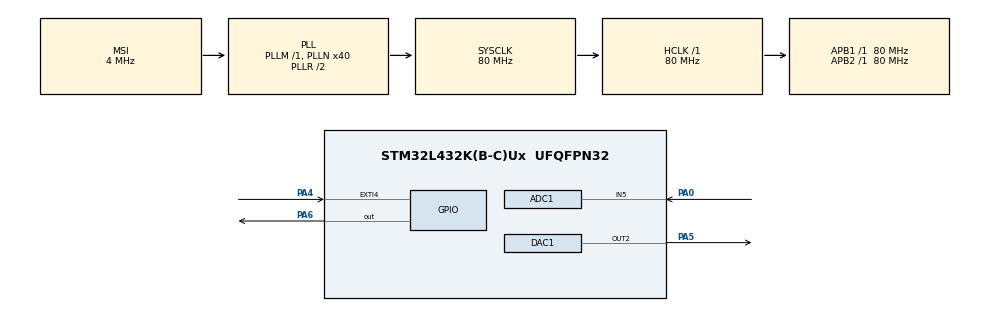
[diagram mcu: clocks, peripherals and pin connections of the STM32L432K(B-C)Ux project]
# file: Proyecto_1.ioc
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ADC1.Channel-1\#ChannelRegularConversion=ADC_CHANNEL_5
ADC1.NbrOfConversionFlag=1
ADC1.OffsetNumber-1\#ChannelRegularConversion=ADC_OFFSET_NONE
ADC1.Rank-1\#ChannelRegularConversion=1
ADC1.SamplingTime-1\#ChannelRegularConversion=ADC_SAMPLETIME_2CYCLES_5
ADC1.master=1
DAC1.DAC_Channel-DAC_OUT2=DAC_CHANNEL_2
Mcu.Family=STM32L4
Mcu.Name=STM32L432K(B-C)Ux
Mcu.Package=UFQFPN32
NVIC.EXTI4_IRQn=true\:0\:0\:false\:false\:true\:true\:true\:true
NVIC.PriorityGroup=NVIC_PRIORITYGROUP_4
NVIC.TIM1_UP_TIM16_IRQn=true\:0\:0\:false\:false\:true\:true\:true\:true
PA0.Signal=ADCx_IN5
PA4.GPIO_ModeDefaultEXTI=GPIO_MODE_IT_RISING_FALLING
PA4.GPIO_PuPd=GPIO_PULLDOWN
PA4.Signal=GPXTI4
PA5.Signal=COMP_DAC12_group
PA6.Signal=GPIO_Output
ProjectManager.HeapSize=0x200
ProjectManager.StackSize=0x400
ProjectManager.TargetToolchain=STM32CubeIDE
RCC.ADCFreq_Value=32000000
RCC.AHBFreq_Value=80000000
RCC.APB1Freq_Value=80000000
RCC.APB1TimFreq_Value=80000000
RCC.APB2Freq_Value=80000000
RCC.APB2TimFreq_Value=80000000
RCC.CortexFreq_Value=80000000
RCC.HCLKFreq_Value=80000000
RCC.HSE_VALUE=8000000
RCC.HSI48_VALUE=48000000
RCC.HSI_VALUE=16000000
RCC.LSE_VALUE=32768
RCC.MSI_VALUE=4000000
RCC.PLLN=40
RCC.PLLSAI1N=16
RCC.SYSCLKFreq_VALUE=80000000
RCC.SYSCLKSource=RCC_SYSCLKSOURCE_PLLCLK
RCC.USBFreq_Value=32000000
RCC.VCOOutputFreq_Value=160000000
SH.ADCx_IN5.0=ADC1_IN5,IN5-Single-Ended
SH.COMP_DAC12_group.0=DAC1_OUT2,DAC_OUT2
TIM1.Period=2000-1
TIM1.Prescaler=80-1
VP_TIM1_VS_ClockSourceINT.Mode=Internal
board=custom

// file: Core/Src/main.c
/* USER CODE BEGIN Header */
/**
  ******************************************************************************
  * @file           : main.c
  * @brief          : Main program body
  ******************************************************************************
  * @attention
  *
  * Copyright (c) 2024 STMicroelectronics.
  * All rights reserved.
  *
  * This software is licensed under terms that can be found in the LICENSE file
  * in the root directory of this software component.
  * If no LICENSE file comes with this software, it is provided AS-IS.
  *
  ******************************************************************************
  */
/* USER CODE END Header */
#include "main.h"

/* USER CODE BEGIN PTD */

typedef enum
{
	attack,
	decay,
	sustain,
	release,
	off
}etapas_t;

/* USER CODE END PTD */

ADC_HandleTypeDef hadc1;
DAC_HandleTypeDef hdac1;
TIM_HandleTypeDef htim1;

/* USER CODE BEGIN PV */

float var = 0;

etapas_t etapas = off;

float t_a = 0.5;
float t_d = 1;
float v_s = 2.5;
float t_r = 0.2;

float b_a = 0;
float b_d = 0;
float b_r = 0;

int Gate = 0;

float x = 0;
float y = 0;

float env = 0;
int flag = 0;
float pendiente_d = 0;

/* USER CODE END PV */

void SystemClock_Config(void);
static void MX_GPIO_Init(void);
static void MX_ADC1_Init(void);
static void MX_DAC1_Init(void);
static void MX_TIM1_Init(void);
/* USER CODE BEGIN PFP */
float generador_rectas(float, float);
/* USER CODE END PFP */

int main(void)
{

  /* MCU Configuration--------------------------------------------------------*/

  /* Reset of all peripherals, Initializes the Flash interface and the Systick. */
  HAL_Init();

  /* Configure the system clock */
  SystemClock_Config();

  /* Initialize all configured peripherals */
  MX_GPIO_Init();
  MX_ADC1_Init();
  MX_DAC1_Init();
  MX_TIM1_Init();
  /* USER CODE BEGIN 2 */

  //HAL_GPIO_EXTI_Callback(GPIO_PIN_4);

  	HAL_DAC_Start(&hdac1, DAC_CHANNEL_2);
  	HAL_TIM_Base_Start_IT(&htim1);

  /* USER CODE END 2 */

  /* Infinite loop */
  while (1)
  {

    /* USER CODE BEGIN 3 */

	  switch(etapas)
	  {
	  	  case attack:

	  		  float pendiente_a = 3.3/var;
	  		  b_a = 0;

	  		  if(flag == 1)
	  		  {
	  			  env = generador_rectas(pendiente_a, b_a);
	  			  flag = 0;
	  			  HAL_DAC_SetValue(&hdac1, DAC_CHANNEL_2, DAC_ALIGN_12B_R, env*4095/3.3);
	  		  }

	  		  if(env >= 3.3)
	  		  {
	  			  etapas = decay;
	  			  pendiente_d = (v_s - 3.3)/t_d;
	  			  b_d = v_s - pendiente_d * t_d;
	  			  x = 0;
	  		  }
	  		  else
	  		  {
	  			  etapas = attack;
	  		  }

	  		  break;
	  	  case decay:

	  		  //float pendiente_d = (v_s - 3.3)/t_d;
	  		  //b_d = v_s - pendiente_d * t_d;

	  		  if(flag == 1)
	  		  {
	  			  env = generador_rectas(pendiente_d, b_d);
	  			  flag = 0;
	  			  HAL_DAC_SetValue(&hdac1, DAC_CHANNEL_2, DAC_ALIGN_12B_R, env*4095/3.3);
	  		  }

	  		  if(env <= v_s)
	  		  {
	  			  etapas = sustain;
	  			  x = 0;
	  		  }
	  		  else
	  		  {
	  			  etapas = decay;
	  		  }

	  		  break;
	  	  case sustain:

	  		  if(flag == 1)
	  		  {
	  			  HAL_DAC_SetValue(&hdac1, DAC_CHANNEL_2, DAC_ALIGN_12B_R, env*4095/3.3);
	  			  flag = 0;
	  		  }

	  		  if(Gate == 0)
	  		  {
	  			  etapas = release;
	  			  x = 0;
	  		  }
	  		  else
	  		  {
	  			etapas = sustain;
	  		  }

	  		  break;
	  	  case release:

	  		  float pendiente_r = (0 - v_s)/t_r;
	  		  b_r = - pendiente_r * t_r;

	  		  if(flag == 1)
	  		  {
	  			  env = generador_rectas(pendiente_r, b_r);
				  flag = 0;
				  HAL_DAC_SetValue(&hdac1, DAC_CHANNEL_2, DAC_ALIGN_12B_R, env*4095/3.3);
	  		  }

	  		  if(env <=0)
	  		  {
	  			  etapas = off;
	  			  x = 0;
	  		  }
	  		  else
	  		  {
	  			  etapas = release;
	  		  }

	  		  break;
	  	  case off:

	  		  if(Gate == 1)
	  		  {
	  			  etapas = attack;
	  			  x = 0;
	  		  }
	  		  else
	  		  {
	  			  etapas = off;
	  		  }

	  		  break;
	  }

  }
  /* USER CODE END 3 */
}

void SystemClock_Config(void)
{
  RCC_OscInitTypeDef RCC_OscInitStruct = {0};
  RCC_ClkInitTypeDef RCC_ClkInitStruct = {0};

  /** Configure the main internal regulator output voltage
  */
  if (HAL_PWREx_ControlVoltageScaling(PWR_REGULATOR_VOLTAGE_SCALE1) != HAL_OK)
  {
    Error_Handler();
  }

  /** Initializes the RCC Oscillators according to the specified parameters
  * in the RCC_OscInitTypeDef structure.
  */
  RCC_OscInitStruct.OscillatorType = RCC_OSCILLATORTYPE_MSI;
  RCC_OscInitStruct.MSIState = RCC_MSI_ON;
  RCC_OscInitStruct.MSICalibrationValue = 0;
  RCC_OscInitStruct.MSIClockRange = RCC_MSIRANGE_6;
  RCC_OscInitStruct.PLL.PLLState = RCC_PLL_ON;
  RCC_OscInitStruct.PLL.PLLSource = RCC_PLLSOURCE_MSI;
  RCC_OscInitStruct.PLL.PLLM = 1;
  RCC_OscInitStruct.PLL.PLLN = 40;
  RCC_OscInitStruct.PLL.PLLP = RCC_PLLP_DIV7;
  RCC_OscInitStruct.PLL.PLLQ = RCC_PLLQ_DIV2;
  RCC_OscInitStruct.PLL.PLLR = RCC_PLLR_DIV2;
  if (HAL_RCC_OscConfig(&RCC_OscInitStruct) != HAL_OK)
  {
    Error_Handler();
  }

  /** Initializes the CPU, AHB and APB buses clocks
  */
  RCC_ClkInitStruct.ClockType = RCC_CLOCKTYPE_HCLK|RCC_CLOCKTYPE_SYSCLK
                              |RCC_CLOCKTYPE_PCLK1|RCC_CLOCKTYPE_PCLK2;
  RCC_ClkInitStruct.SYSCLKSource = RCC_SYSCLKSOURCE_PLLCLK;
  RCC_ClkInitStruct.AHBCLKDivider = RCC_SYSCLK_DIV1;
  RCC_ClkInitStruct.APB1CLKDivider = RCC_HCLK_DIV1;
  RCC_ClkInitStruct.APB2CLKDivider = RCC_HCLK_DIV1;

  if (HAL_RCC_ClockConfig(&RCC_ClkInitStruct, FLASH_LATENCY_4) != HAL_OK)
  {
    Error_Handler();
  }
}

static void MX_ADC1_Init(void)
{

  ADC_ChannelConfTypeDef sConfig = {0};

  /** Common config
  */
  hadc1.Instance = ADC1;
  hadc1.Init.ClockPrescaler = ADC_CLOCK_ASYNC_DIV1;
  hadc1.Init.Resolution = ADC_RESOLUTION_12B;
  hadc1.Init.DataAlign = ADC_DATAALIGN_RIGHT;
  hadc1.Init.ScanConvMode = ADC_SCAN_DISABLE;
  hadc1.Init.EOCSelection = ADC_EOC_SINGLE_CONV;
  hadc1.Init.LowPowerAutoWait = DISABLE;
  hadc1.Init.ContinuousConvMode = DISABLE;
  hadc1.Init.NbrOfConversion = 1;
  hadc1.Init.DiscontinuousConvMode = DISABLE;
  hadc1.Init.ExternalTrigConv = ADC_SOFTWARE_START;
  hadc1.Init.ExternalTrigConvEdge = ADC_EXTERNALTRIGCONVEDGE_NONE;
  hadc1.Init.DMAContinuousRequests = DISABLE;
  hadc1.Init.Overrun = ADC_OVR_DATA_PRESERVED;
  hadc1.Init.OversamplingMode = DISABLE;
  if (HAL_ADC_Init(&hadc1) != HAL_OK)
  {
    Error_Handler();
  }

  /** Configure Regular Channel
  */
  sConfig.Channel = ADC_CHANNEL_5;
  sConfig.Rank = ADC_REGULAR_RANK_1;
  sConfig.SamplingTime = ADC_SAMPLETIME_2CYCLES_5;
  sConfig.SingleDiff = ADC_SINGLE_ENDED;
  sConfig.OffsetNumber = ADC_OFFSET_NONE;
  sConfig.Offset = 0;
  if (HAL_ADC_ConfigChannel(&hadc1, &sConfig) != HAL_OK)
  {
    Error_Handler();
  }

}

static void MX_DAC1_Init(void)
{

  DAC_ChannelConfTypeDef sConfig = {0};

  /** DAC Initialization
  */
  hdac1.Instance = DAC1;
  if (HAL_DAC_Init(&hdac1) != HAL_OK)
  {
    Error_Handler();
  }

  /** DAC channel OUT2 config
  */
  sConfig.DAC_SampleAndHold = DAC_SAMPLEANDHOLD_DISABLE;
  sConfig.DAC_Trigger = DAC_TRIGGER_NONE;
  sConfig.DAC_OutputBuffer = DAC_OUTPUTBUFFER_ENABLE;
  sConfig.DAC_ConnectOnChipPeripheral = DAC_CHIPCONNECT_DISABLE;
  sConfig.DAC_UserTrimming = DAC_TRIMMING_FACTORY;
  if (HAL_DAC_ConfigChannel(&hdac1, &sConfig, DAC_CHANNEL_2) != HAL_OK)
  {
    Error_Handler();
  }

}

static void MX_TIM1_Init(void)
{

  TIM_ClockConfigTypeDef sClockSourceConfig = {0};
  TIM_MasterConfigTypeDef sMasterConfig = {0};

  htim1.Instance = TIM1;
  htim1.Init.Prescaler = 80-1;
  htim1.Init.CounterMode = TIM_COUNTERMODE_UP;
  htim1.Init.Period = 2000-1;
  htim1.Init.ClockDivision = TIM_CLOCKDIVISION_DIV1;
  htim1.Init.RepetitionCounter = 0;
  htim1.Init.AutoReloadPreload = TIM_AUTORELOAD_PRELOAD_DISABLE;
  if (HAL_TIM_Base_Init(&htim1) != HAL_OK)
  {
    Error_Handler();
  }
  sClockSourceConfig.ClockSource = TIM_CLOCKSOURCE_INTERNAL;
  if (HAL_TIM_ConfigClockSource(&htim1, &sClockSourceConfig) != HAL_OK)
  {
    Error_Handler();
  }
  sMasterConfig.MasterOutputTrigger = TIM_TRGO_RESET;
  sMasterConfig.MasterOutputTrigger2 = TIM_TRGO2_RESET;
  sMasterConfig.MasterSlaveMode = TIM_MASTERSLAVEMODE_DISABLE;
  if (HAL_TIMEx_MasterConfigSynchronization(&htim1, &sMasterConfig) != HAL_OK)
  {
    Error_Handler();
  }

}

static void MX_GPIO_Init(void)
{
  GPIO_InitTypeDef GPIO_InitStruct = {0};

  /* GPIO Ports Clock Enable */
  __HAL_RCC_GPIOA_CLK_ENABLE();

  /*Configure GPIO pin Output Level */
  HAL_GPIO_WritePin(GPIOA, GPIO_PIN_6, GPIO_PIN_RESET);

  /*Configure GPIO pin : PA4 */
  GPIO_InitStruct.Pin = GPIO_PIN_4;
  GPIO_InitStruct.Mode = GPIO_MODE_IT_RISING_FALLING;
  GPIO_InitStruct.Pull = GPIO_PULLDOWN;
  HAL_GPIO_Init(GPIOA, &GPIO_InitStruct);

  /*Configure GPIO pin : PA6 */
  GPIO_InitStruct.Pin = GPIO_PIN_6;
  GPIO_InitStruct.Mode = GPIO_MODE_OUTPUT_PP;
  GPIO_InitStruct.Pull = GPIO_NOPULL;
  GPIO_InitStruct.Speed = GPIO_SPEED_FREQ_LOW;
  HAL_GPIO_Init(GPIOA, &GPIO_InitStruct);

  /* EXTI interrupt init*/
  HAL_NVIC_SetPriority(EXTI4_IRQn, 0, 0);
  HAL_NVIC_EnableIRQ(EXTI4_IRQn);

}

/* USER CODE BEGIN 4 */

float generador_rectas(float m, float b)
{

	y = m*x+b;

	//x += 20e-6;

	return y;
}

HAL_GPIO_EXTI_Callback(uint16_t GPIO_Pin)
{

	if (GPIO_Pin == GPIO_PIN_4)
	{
		//HAL_Delay(10);

		if(HAL_GPIO_ReadPin(GPIOA, GPIO_PIN_4) == GPIO_PIN_SET)
		{
			Gate = 1;
			HAL_GPIO_WritePin(GPIOA, GPIO_PIN_6, GPIO_PIN_SET);
		}
		else
		{
			Gate = 0;
			HAL_GPIO_WritePin(GPIOA, GPIO_PIN_6, GPIO_PIN_RESET);
		}

		HAL_ADC_Start(&hadc1); // Inicia la conversión ADC
		HAL_ADC_PollForConversion(&hadc1, HAL_MAX_DELAY); // Espera la conversión
		var = HAL_ADC_GetValue(&hadc1)*(2.6/4095); // Lee el valor convertido
		HAL_ADC_Stop(&hadc1); // Detiene la conversión*/
	}
}

void HAL_TIM_PeriodElapsedCallback(TIM_HandleTypeDef *htim)
{
    if (htim->Instance == TIM1)
    {
    	flag = 1;
        x += 0.002;
    }
}

/* USER CODE END 4 */

void Error_Handler(void)
{
  __disable_irq();
  while (1)
  {
  }
}
